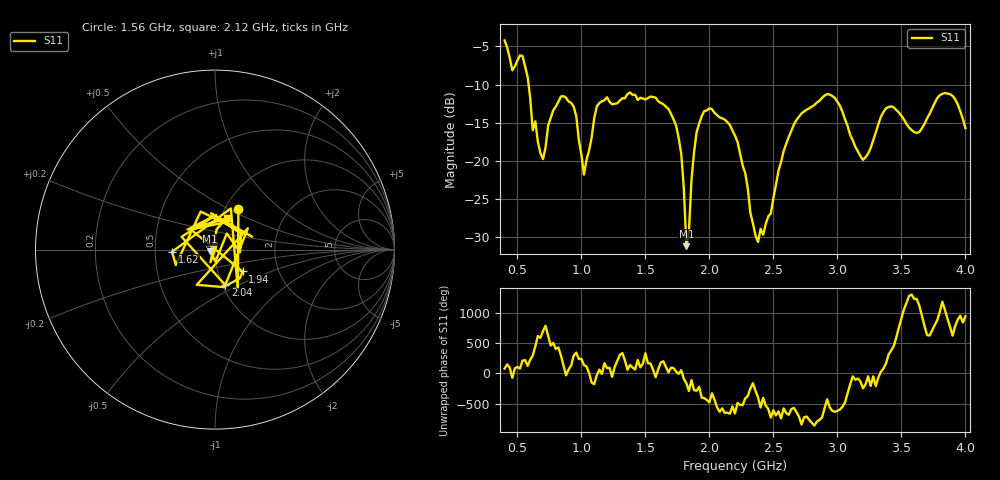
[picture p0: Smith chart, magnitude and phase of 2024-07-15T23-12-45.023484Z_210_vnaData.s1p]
!Created with skrf (http://scikit-rf.org).
# Hz S RI R 50.0
!freq ReS11 ImS11
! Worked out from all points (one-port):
!   181 points, 400 MHz to 4 GHz, reference 50 ohm
!   lowest |S11| = -31.2 dB at 1.82 GHz (marker M1), VSWR 1.06, Z = 47.4 - j0.819 ohm
!   |S11| at or under -10 dB: 587.3 MHz to end of sweep
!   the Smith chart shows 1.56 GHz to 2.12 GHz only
!   S11 on the Smith chart (normalised r, x): 1.56 GHz: 1.15, +0.56; 1.62 GHz: 0.61, -0.02; 1.94 GHz: 1.32, -0.33; 2.04 GHz: 1.03, -0.43; 2.12 GHz: 1.07, +0.39
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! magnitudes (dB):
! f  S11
! 400 MHz  -4.2
! 460 MHz  -8.1
! 540 MHz  -6.3
! 620 MHz  -16.0
! 700 MHz  -19.8
! 860 MHz  -11.5
! 960 MHz  -14.2
! 1.02 GHz  -21.8
! 1.12 GHz  -12.9
! 1.3 GHz  -12.1
! 1.56 GHz  -11.6
! 1.62 GHz  -12.4
! 1.76 GHz  -17.0
! 1.82 GHz  -31.2
! 1.88 GHz  -18.9
! 1.94 GHz  -14.1
! 2.04 GHz  -13.7
! 2.12 GHz  -14.6
! 2.2 GHz  -16.7
! 2.38 GHz  -30.7
! 2.66 GHz  -15.3
! 2.92 GHz  -11.3
! 3.1 GHz  -16.6
! 3.2 GHz  -19.9
! 3.38 GHz  -13.1
! 3.56 GHz  -15.7
! 3.84 GHz  -11.1
! 4 GHz  -15.7
